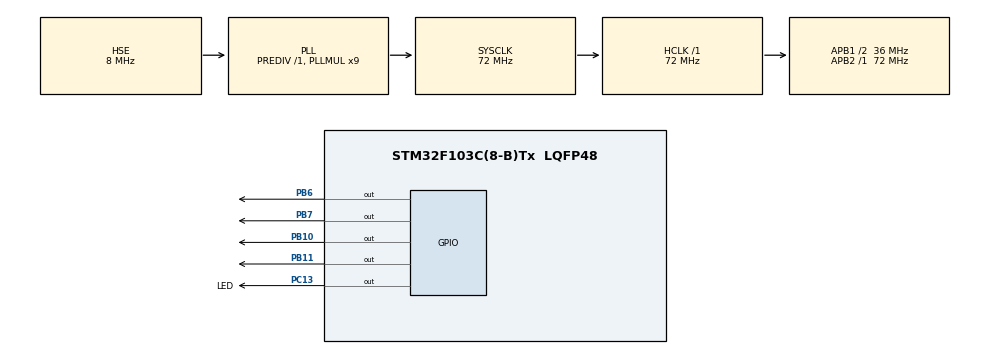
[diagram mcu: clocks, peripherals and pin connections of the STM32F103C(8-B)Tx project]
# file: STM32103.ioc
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Mcu.Family=STM32F1
Mcu.Name=STM32F103C(8-B)Tx
Mcu.Package=LQFP48
NVIC.PriorityGroup=NVIC_PRIORITYGROUP_4
PA13.Mode=JTAG_4_pins
PA13.Signal=SYS_JTMS-SWDIO
PA14.Mode=JTAG_4_pins
PA14.Signal=SYS_JTCK-SWCLK
PA15.Mode=JTAG_4_pins
PA15.Signal=SYS_JTDI
PB10.PinState=GPIO_PIN_SET
PB10.Signal=GPIO_Output
PB11.PinState=GPIO_PIN_SET
PB11.Signal=GPIO_Output
PB3.Mode=JTAG_4_pins
PB3.Signal=SYS_JTDO-TRACESWO
PB6.GPIO_Speed=GPIO_SPEED_FREQ_HIGH
PB6.PinState=GPIO_PIN_SET
PB6.Signal=GPIO_Output
PB7.GPIO_Speed=GPIO_SPEED_FREQ_HIGH
PB7.PinState=GPIO_PIN_SET
PB7.Signal=GPIO_Output
PC13-TAMPER-RTC.GPIO_Label=LED
PC13-TAMPER-RTC.GPIO_PuPd=GPIO_NOPULL
PC13-TAMPER-RTC.Signal=GPIO_Output
PC14-OSC32_IN.Mode=LSE-External-Oscillator
PC14-OSC32_IN.Signal=RCC_OSC32_IN
PC15-OSC32_OUT.Mode=LSE-External-Oscillator
PC15-OSC32_OUT.Signal=RCC_OSC32_OUT
PD0-OSC_IN.Mode=HSE-External-Oscillator
PD0-OSC_IN.Signal=RCC_OSC_IN
PD1-OSC_OUT.Mode=HSE-External-Oscillator
PD1-OSC_OUT.Signal=RCC_OSC_OUT
ProjectManager.HeapSize=0x200
ProjectManager.StackSize=0x400
ProjectManager.TargetToolchain=MDK-ARM V5
RCC.AHBFreq_Value=72000000
RCC.APB1CLKDivider=RCC_HCLK_DIV2
RCC.APB1Freq_Value=36000000
RCC.APB1TimFreq_Value=72000000
RCC.APB2Freq_Value=72000000
RCC.APB2TimFreq_Value=72000000
RCC.HCLKFreq_Value=72000000
RCC.PLLMUL=RCC_PLL_MUL9
RCC.PLLSourceVirtual=RCC_PLLSOURCE_HSE
RCC.SYSCLKFreq_VALUE=72000000
RCC.SYSCLKSource=RCC_SYSCLKSOURCE_PLLCLK
RCC.USBFreq_Value=72000000
board=custom

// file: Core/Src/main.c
/* USER CODE BEGIN Header */
/**
  ******************************************************************************
  * @file           : main.c
  * @brief          : Main program body
  ******************************************************************************
  * @attention
  *
  * <h2><center>&copy; Copyright (c) 2022 STMicroelectronics.
  * All rights reserved.</center></h2>
  *
  * This software component is licensed by ST under BSD 3-Clause license,
  * the "License"; You may not use this file except in compliance with the
  * License. You may obtain a copy of the License at:
  *                        opensource.org/licenses/BSD-3-Clause
  *
  ******************************************************************************
  */
/* USER CODE END Header */

#include "main.h"
#include "gpio.h"
#include "math.h"

/* USER CODE BEGIN Includes */
#include "OLED.h"
/* USER CODE END Includes */

/* USER CODE BEGIN PD */

/*64*64image*/
char images[][512] = {

	/*--  调入了一幅图像：C:\Users\chen\Pictures\STM32 OLED示例图片\CLock.bmp  --*/
/*--  宽度x高度=64x64  --*/
0x00,0x00,0x00,0x00,0x00,0x00,0x00,0x00,0x00,0x00,0x00,0x00,0x00,0x00,0x00,0x00,
0x00,0x00,0x00,0x00,0x00,0x00,0x80,0x80,0x80,0xC0,0xC0,0xC0,0xC0,0xC0,0xC0,0xC0,
0xC0,0xC0,0xC0,0xC0,0xC0,0xC0,0xC0,0x80,0x80,0x80,0x00,0x00,0x00,0x00,0x00,0x00,
0x00,0x00,0x00,0x00,0x00,0x00,0x00,0x00,0x00,0x00,0x00,0x00,0x00,0x00,0x00,0x00,
0x00,0x00,0x00,0x00,0x00,0x00,0x00,0x00,0x00,0x00,0x00,0xC0,0xE0,0xE0,0xF0,0xF8,
0xFC,0x7C,0x3E,0x3E,0x1F,0x1F,0x0F,0x0F,0x07,0x07,0x07,0x07,0x03,0x03,0xF3,0xFB,
0xFB,0xF3,0x03,0x03,0x07,0x07,0x07,0x07,0x0F,0x0F,0x1F,0x1F,0x3E,0x3E,0x7C,0xFC,
0xF8,0xF0,0xE0,0xE0,0xC0,0x00,0x00,0x00,0x00,0x00,0x00,0x00,0x00,0x00,0x00,0x00,
0x00,0x00,0x00,0x00,0x00,0x00,0xC0,0xF0,0xFC,0xFE,0xFF,0x3F,0x0F,0x07,0x03,0x01,
0x00,0x00,0x00,0x00,0x00,0x00,0x00,0x00,0x00,0x00,0x00,0x00,0x00,0x00,0xFF,0xFF,
0xFF,0xFF,0x00,0x00,0x00,0x00,0x00,0x00,0x00,0x00,0x00,0x00,0x00,0x00,0x00,0x00,
0x01,0x03,0x07,0x0F,0x3F,0xFF,0xFE,0xFC,0xF0,0xC0,0x00,0x00,0x00,0x00,0x00,0x00,
0x00,0x00,0x00,0x00,0xF8,0xFF,0xFF,0xFF,0x3F,0x03,0x00,0x00,0x00,0x00,0x00,0x00,
0x00,0x00,0x00,0x00,0x00,0x00,0x00,0x00,0x00,0x00,0x00,0x00,0x00,0x00,0xFF,0xFF,
0xFF,0xFF,0x00,0x00,0x00,0x00,0x00,0x00,0x00,0x00,0x00,0x00,0x00,0x00,0x00,0x00,
0x00,0x00,0x00,0x00,0x00,0x00,0x03,0x3F,0xFF,0xFF,0xFF,0xF8,0x00,0x00,0x00,0x00,
0x00,0x00,0x00,0x00,0xFF,0xFF,0xFF,0xFF,0xC0,0x00,0x00,0x00,0x00,0x00,0x00,0x00,
0x00,0x00,0x00,0x00,0x00,0x00,0x00,0x00,0x80,0xC0,0xE0,0xF0,0xF8,0xFC,0x7F,0x3F,
0x1F,0x0F,0x00,0x00,0x00,0x00,0x00,0x00,0x00,0x00,0x00,0x00,0x00,0x00,0x00,0x00,
0x00,0x00,0x00,0x00,0x00,0x00,0x00,0xC0,0xFF,0xFF,0xFF,0xFF,0x00,0x00,0x00,0x00,
0x00,0x00,0x00,0x00,0x01,0x0F,0x3F,0xFF,0xFF,0xFC,0xF0,0xC0,0x00,0x00,0x00,0x00,
0x00,0x00,0x00,0x00,0x30,0x7C,0x7E,0x3F,0x1F,0x0F,0x07,0x03,0x01,0x00,0x00,0x00,
0x00,0x00,0x00,0x00,0x00,0x00,0x00,0x00,0x00,0x00,0x00,0x00,0x00,0x00,0x00,0x00,
0x00,0x00,0x00,0x00,0xC0,0xF0,0xFC,0xFF,0xFF,0x3F,0x0F,0x01,0x00,0x00,0x00,0x00,
0x00,0x00,0x00,0x00,0x00,0x00,0x00,0x00,0x03,0x07,0x0F,0x3F,0x7F,0x7E,0xFC,0xF8,
0xF0,0xE0,0xC0,0xC0,0x80,0x80,0x00,0x00,0x00,0x00,0x00,0x00,0x00,0x00,0x00,0x00,
0x00,0x00,0x00,0x00,0x00,0x00,0x00,0x00,0x00,0x00,0x80,0x80,0xC0,0xC0,0xE0,0xF0,
0xF8,0xFC,0x7E,0x7F,0x3F,0x0F,0x07,0x03,0x00,0x00,0x00,0x00,0x00,0x00,0x00,0x00,
0x00,0x00,0x00,0x00,0x00,0x00,0x00,0x00,0x00,0x00,0x00,0x00,0x00,0x00,0x00,0x01,
0x03,0x03,0x07,0x07,0x0F,0x0F,0x1F,0x1F,0x1E,0x3E,0x3E,0x3E,0x3C,0x3C,0x3C,0x3C,
0x3C,0x3C,0x3C,0x3C,0x3E,0x3E,0x3E,0x1E,0x1F,0x1F,0x0F,0x0F,0x07,0x07,0x03,0x03,
0x01,0x00,0x00,0x00,0x00,0x00,0x00,0x00,0x00,0x00,0x00,0x00,0x00,0x00,0x00,0x00,

/*--  调入了一幅图像：C:\Users\chen\Pictures\STM32 OLED示例图片\WIFI.bmp  --*/
/*--  宽度x高度=64x64  --*/
0x00,0x00,0x00,0x00,0x00,0x00,0x00,0x00,0x00,0x00,0x00,0x00,0x00,0x00,0x00,0x00,
0x00,0x00,0x00,0x00,0x00,0x00,0x00,0x00,0x00,0x00,0x00,0x00,0x00,0x00,0x00,0x00,
0x00,0x00,0x00,0x00,0x00,0x00,0x00,0x00,0x00,0x00,0x00,0x00,0x00,0x00,0x00,0x00,
0x00,0x00,0x00,0x00,0x00,0x00,0x00,0x00,0x00,0x00,0x00,0x00,0x00,0x00,0x00,0x00,
0x00,0x00,0x00,0x00,0x00,0x00,0x00,0x80,0x80,0xC0,0xC0,0xE0,0xE0,0xF0,0xF0,0xF8,
0xF8,0xF8,0xFC,0xFC,0xFC,0xFE,0xFE,0xFE,0xFE,0x7E,0x7E,0x7E,0x7F,0x7F,0x7F,0x7F,
0x7F,0x7F,0x7F,0x7E,0x7E,0x7E,0xFE,0xFE,0xFE,0xFE,0xFC,0xFC,0xFC,0xF8,0xF8,0xF8,
0xF0,0xF0,0xE0,0xE0,0xC0,0xC0,0x80,0x80,0x00,0x00,0x00,0x00,0x00,0x00,0x00,0x00,
0xE0,0xF0,0xF8,0xFC,0xFC,0xFE,0xFF,0xFF,0x7F,0x3F,0x1F,0x1F,0x0F,0x0F,0x07,0x03,
0x03,0x03,0x81,0x81,0xC1,0xC0,0xC0,0xE0,0xE0,0xE0,0xE0,0xE0,0xF0,0xF0,0xF0,0xF0,
0xF0,0xF0,0xF0,0xE0,0xE0,0xE0,0xE0,0xE0,0xC0,0xC0,0xC1,0x81,0x81,0x03,0x03,0x07,
0x07,0x0F,0x0F,0x1F,0x1F,0x3F,0x7F,0xFF,0xFF,0xFE,0xFC,0xF8,0xF8,0xF0,0xE0,0x00,
0x01,0x03,0x03,0x03,0x03,0x01,0x01,0x00,0x00,0xE0,0xF0,0xF0,0xF8,0xFC,0xFE,0xFE,
0xFF,0x7F,0x7F,0x3F,0x1F,0x1F,0x1F,0x0F,0x0F,0x0F,0x07,0x07,0x07,0x07,0x07,0x07,
0x07,0x07,0x07,0x07,0x07,0x0F,0x0F,0x0F,0x1F,0x1F,0x1F,0x3F,0x7F,0x7F,0xFF,0xFE,
0xFE,0xFC,0xF8,0xF0,0xF0,0xE0,0x00,0x00,0x01,0x01,0x03,0x03,0x03,0x03,0x01,0x00,
0x00,0x00,0x00,0x00,0x00,0x00,0x00,0x00,0x00,0x03,0x07,0x07,0x07,0x03,0x03,0x01,
0x00,0x80,0xC0,0xE0,0xF0,0xF8,0xF8,0xFC,0xFC,0xFE,0xFE,0xFE,0x7E,0x7E,0x7E,0x7F,
0x7E,0x7E,0x7E,0xFE,0xFE,0xFE,0xFC,0xFC,0xF8,0xF8,0xF0,0xE0,0xC0,0x80,0x00,0x01,
0x03,0x03,0x07,0x07,0x07,0x03,0x00,0x00,0x00,0x00,0x00,0x00,0x00,0x00,0x00,0x00,
0x00,0x00,0x00,0x00,0x00,0x00,0x00,0x00,0x00,0x00,0x00,0x00,0x00,0x00,0x00,0x00,
0x00,0x01,0x07,0x07,0x07,0x07,0x07,0x03,0x01,0x01,0x80,0xC0,0xE0,0xF0,0xF0,0xF0,
0xF0,0xF0,0xE0,0xC0,0x80,0x01,0x01,0x03,0x07,0x07,0x07,0x07,0x07,0x01,0x00,0x00,
0x00,0x00,0x00,0x00,0x00,0x00,0x00,0x00,0x00,0x00,0x00,0x00,0x00,0x00,0x00,0x00,
0x00,0x00,0x00,0x00,0x00,0x00,0x00,0x00,0x00,0x00,0x00,0x00,0x00,0x00,0x00,0x00,
0x00,0x00,0x00,0x00,0x00,0x00,0x00,0x00,0x00,0x00,0x0F,0x1F,0x3F,0x7F,0x7F,0x7F,
0x7F,0x7F,0x3F,0x1F,0x0F,0x00,0x00,0x00,0x00,0x00,0x00,0x00,0x00,0x00,0x00,0x00,
0x00,0x00,0x00,0x00,0x00,0x00,0x00,0x00,0x00,0x00,0x00,0x00,0x00,0x00,0x00,0x00,
0x00,0x00,0x00,0x00,0x00,0x00,0x00,0x00,0x00,0x00,0x00,0x00,0x00,0x00,0x00,0x00,
0x00,0x00,0x00,0x00,0x00,0x00,0x00,0x00,0x00,0x00,0x00,0x00,0x00,0x00,0x00,0x00,
0x00,0x00,0x00,0x00,0x00,0x00,0x00,0x00,0x00,0x00,0x00,0x00,0x00,0x00,0x00,0x00,
0x00,0x00,0x00,0x00,0x00,0x00,0x00,0x00,0x00,0x00,0x00,0x00,0x00,0x00,0x00,0x00,

/*--  调入了一幅图像：C:\Users\chen\Pictures\STM32 OLED示例图片\BT.bmp  --*/
/*--  宽度x高度=64x64  --*/
0x00,0x00,0x00,0x00,0x00,0x00,0x00,0x00,0x00,0x00,0x00,0x00,0x00,0x00,0x00,0x00,
0x00,0x00,0x00,0x80,0x80,0xC0,0xE0,0xE0,0xF0,0xF0,0xF0,0xF8,0xF8,0xF8,0xF8,0xF8,
0xF8,0xF8,0xF8,0xF8,0xF8,0xF0,0xF0,0xF0,0xE0,0xE0,0xC0,0x80,0x80,0x00,0x00,0x00,
0x00,0x00,0x00,0x00,0x00,0x00,0x00,0x00,0x00,0x00,0x00,0x00,0x00,0x00,0x00,0x00,
0x00,0x00,0x00,0x00,0x00,0x00,0x00,0x00,0x00,0x00,0x00,0x00,0x00,0x00,0xC0,0xF0,
0xF8,0xFE,0xFF,0xFF,0xFF,0xFF,0xFF,0xFF,0xFF,0xFF,0xFF,0xFF,0xFF,0x3F,0x1F,0x1F,
0x3F,0x7F,0xFF,0xFF,0xFF,0xFF,0xFF,0xFF,0xFF,0xFF,0xFF,0xFF,0xFF,0xFF,0xFE,0xFC,
0xF0,0xC0,0x00,0x00,0x00,0x00,0x00,0x00,0x00,0x00,0x00,0x00,0x00,0x00,0x00,0x00,
0x00,0x00,0x00,0x00,0x00,0x00,0x00,0x00,0x00,0x00,0x00,0x00,0x00,0xFE,0xFF,0xFF,
0xFF,0xFF,0xFF,0xFF,0xFF,0x7F,0x7F,0x7F,0xFF,0xFF,0xFF,0xFF,0xFF,0x00,0x00,0x00,
0xFC,0xFC,0xF8,0xF1,0xE3,0xE3,0xC7,0x0F,0x1F,0x1F,0x3F,0xFF,0xFF,0xFF,0xFF,0xFF,
0xFF,0xFF,0xFF,0x00,0x00,0x00,0x00,0x00,0x00,0x00,0x00,0x00,0x00,0x00,0x00,0x00,
0x00,0x00,0x00,0x00,0x00,0x00,0x00,0x00,0x00,0x00,0x00,0x00,0x00,0xFF,0xFF,0xFF,
0xFF,0xFF,0xFF,0xFF,0xFF,0xFE,0xFC,0xF8,0xF0,0xF1,0xE3,0xC7,0x87,0x00,0x00,0x00,
0x1F,0x0F,0x8F,0xC7,0xE3,0xF1,0xF0,0xF8,0xFC,0xFE,0xFF,0xFF,0xFF,0xFF,0xFF,0xFF,
0xFF,0xFF,0xFF,0x00,0x00,0x00,0x00,0x00,0x00,0x00,0x00,0x00,0x00,0x00,0x00,0x00,
0x00,0x00,0x00,0x00,0x00,0x00,0x00,0x00,0x00,0x00,0x00,0x00,0x00,0xFF,0xFF,0xFF,
0xFF,0xFF,0xFF,0xFF,0xFF,0x3F,0x1F,0x0F,0x8F,0xC7,0xE3,0xF1,0xF1,0x00,0x00,0x00,
0xFC,0xF8,0xF1,0xE1,0xE3,0xC7,0x8F,0x0F,0x1F,0x3F,0x7F,0xFF,0xFF,0xFF,0xFF,0xFF,
0xFF,0xFF,0xFF,0x00,0x00,0x00,0x00,0x00,0x00,0x00,0x00,0x00,0x00,0x00,0x00,0x00,
0x00,0x00,0x00,0x00,0x00,0x00,0x00,0x00,0x00,0x00,0x00,0x00,0x00,0x7F,0xFF,0xFF,
0xFF,0xFF,0xFF,0xFF,0xFF,0xFF,0xFF,0xFF,0xFF,0xFF,0xFF,0xFF,0xFF,0x00,0x00,0x00,
0x1F,0x1F,0x8F,0xC7,0xC7,0xE3,0xF1,0xF8,0xF8,0xFC,0xFE,0xFF,0xFF,0xFF,0xFF,0xFF,
0xFF,0xFF,0x7F,0x00,0x00,0x00,0x00,0x00,0x00,0x00,0x00,0x00,0x00,0x00,0x00,0x00,
0x00,0x00,0x00,0x00,0x00,0x00,0x00,0x00,0x00,0x00,0x00,0x00,0x00,0x00,0x01,0x07,
0x1F,0x3F,0x7F,0xFF,0xFF,0xFF,0xFF,0xFF,0xFF,0xFF,0xFF,0xFF,0xFF,0xFC,0xFC,0xFC,
0xFE,0xFF,0xFF,0xFF,0xFF,0xFF,0xFF,0xFF,0xFF,0xFF,0xFF,0xFF,0xFF,0x7F,0x3F,0x1F,
0x07,0x03,0x00,0x00,0x00,0x00,0x00,0x00,0x00,0x00,0x00,0x00,0x00,0x00,0x00,0x00,
0x00,0x00,0x00,0x00,0x00,0x00,0x00,0x00,0x00,0x00,0x00,0x00,0x00,0x00,0x00,0x00,
0x00,0x00,0x00,0x00,0x00,0x01,0x03,0x03,0x07,0x07,0x0F,0x0F,0x0F,0x0F,0x0F,0x0F,
0x0F,0x0F,0x0F,0x0F,0x0F,0x0F,0x07,0x07,0x03,0x03,0x01,0x00,0x00,0x00,0x00,0x00,
0x00,0x00,0x00,0x00,0x00,0x00,0x00,0x00,0x00,0x00,0x00,0x00,0x00,0x00,0x00,0x00,

/*--  调入了一幅图像：C:\Users\chen\Pictures\STM32 OLED示例图片\chen.bmp  --*/
/*--  宽度x高度=64x64  --*/
0x00,0x00,0x00,0x00,0x00,0x00,0x00,0x00,0x00,0x00,0x00,0x00,0x00,0x00,0x00,0x00,
0x00,0x00,0x00,0x00,0x00,0x00,0x00,0x00,0x00,0x00,0x00,0x00,0x00,0x00,0x00,0x00,
0x00,0x00,0x00,0x00,0x00,0x00,0x00,0x00,0x00,0x00,0x00,0x00,0x00,0x00,0x00,0x00,
0x00,0x00,0x00,0x00,0x00,0x00,0x00,0x00,0x00,0x00,0x00,0x00,0x00,0x00,0x00,0x00,
0x00,0x00,0x00,0x00,0x00,0x00,0x00,0x00,0x00,0x00,0x00,0x00,0x00,0x00,0x00,0x00,
0x00,0x00,0x00,0x00,0x00,0x00,0x00,0x00,0x00,0x00,0x00,0x00,0x00,0x00,0x00,0x00,
0x00,0x00,0x00,0x00,0x00,0x00,0x00,0x00,0x00,0x00,0x00,0x00,0x00,0x00,0x00,0x00,
0x00,0x00,0x00,0x00,0x00,0x00,0x00,0x00,0x00,0x00,0x00,0x00,0x00,0x00,0x00,0x00,
0x00,0x00,0x00,0x00,0x00,0x00,0x00,0x00,0x00,0x00,0x00,0x00,0x00,0x00,0x00,0x00,
0xFE,0xFE,0xFE,0xFE,0x00,0x00,0x00,0x00,0x00,0x00,0x00,0x00,0x00,0x00,0x00,0x00,
0x00,0x00,0x00,0x00,0x00,0x00,0x00,0x00,0x00,0x00,0x00,0x00,0x00,0x00,0x00,0x00,
0x00,0x00,0x00,0x00,0x00,0x00,0x00,0x00,0x00,0x00,0x00,0x00,0x00,0x00,0x00,0x00,
0x00,0x00,0xF0,0xF8,0xFC,0xFE,0x1F,0x0F,0x07,0x07,0x07,0x07,0x07,0x00,0x00,0x00,
0xFF,0xFF,0xFF,0xFF,0x1E,0x06,0x07,0x07,0x07,0x1F,0xFF,0xFE,0xFC,0xE0,0x00,0x00,
0xF0,0xFC,0xFE,0xFE,0xCF,0xC7,0xC7,0xC7,0xC7,0xDF,0xFE,0xFC,0xF8,0x00,0x00,0x00,
0xFF,0xFF,0xFF,0xFE,0x0E,0x07,0x07,0x07,0x0F,0xFF,0xFF,0xFE,0xF8,0x00,0x00,0x00,
0x00,0x00,0x0F,0x3F,0x7F,0x7F,0xF8,0xF0,0xE0,0xE0,0xE0,0xE0,0xE0,0x00,0x00,0x00,
0xFF,0xFF,0xFF,0xFF,0x00,0x00,0x00,0x00,0x00,0x00,0xFF,0xFF,0xFF,0xFF,0x00,0x00,
0x0F,0x3F,0x7F,0x7D,0xF1,0xE1,0xE1,0xE1,0xE1,0xE1,0xE1,0xE1,0x01,0x00,0x00,0x00,
0xFF,0xFF,0xFF,0xFF,0x00,0x00,0x00,0x00,0x00,0xFF,0xFF,0xFF,0xFF,0x00,0x00,0x00,
0x00,0x00,0x00,0x00,0x00,0x00,0x00,0x00,0x00,0x00,0x00,0x00,0x00,0x00,0x00,0x00,
0x00,0x00,0x00,0x00,0x00,0x00,0x00,0x00,0x00,0x00,0x00,0x00,0x00,0x00,0x00,0x00,
0x00,0x00,0x00,0x00,0x00,0x00,0x00,0x00,0x00,0x00,0x00,0x00,0x00,0x00,0x00,0x00,
0x00,0x00,0x00,0x00,0x00,0x00,0x00,0x00,0x00,0x00,0x00,0x00,0x00,0x00,0x00,0x00,
0x00,0x00,0x00,0x00,0x00,0x00,0x00,0x00,0x00,0x00,0x00,0x00,0x00,0x00,0x00,0x00,
0x00,0x00,0x00,0x00,0x00,0x00,0x00,0x00,0x00,0x00,0x00,0x00,0x00,0x00,0x00,0x00,
0x00,0x00,0x00,0x00,0x00,0x00,0x00,0x00,0x00,0x00,0x00,0x00,0x00,0x00,0x00,0x00,
0x00,0x00,0x00,0x00,0x00,0x00,0x00,0x00,0x00,0x00,0x00,0x00,0x00,0x00,0x00,0x00,
0x00,0x00,0x00,0x00,0x00,0x00,0x00,0x00,0x00,0x00,0x00,0x00,0x00,0x00,0x00,0x00,
0x00,0x00,0x00,0x00,0x00,0x00,0x00,0x00,0x00,0x00,0x00,0x00,0x00,0x00,0x00,0x00,
0x00,0x00,0x00,0x00,0x00,0x00,0x00,0x00,0x00,0x00,0x00,0x00,0x00,0x00,0x00,0x00,
0x00,0x00,0x00,0x00,0x00,0x00,0x00,0x00,0x00,0x00,0x00,0x00,0x00,0x00,0x00,0x00,

};

/* USER CODE END PD */

void SystemClock_Config(void);

int main(void)
{

  /* MCU Configuration--------------------------------------------------------*/

  /* Reset of all peripherals, Initializes the Flash interface and the Systick. */
  HAL_Init();

  /* Configure the system clock */
  SystemClock_Config();

  /* Initialize all configured peripherals */
  MX_GPIO_Init();
  /* USER CODE BEGIN 2 */

	OLED_Init();

OLED_Clear();

 HAL_GPIO_WritePin(GPIOC,GPIO_PIN_13,GPIO_PIN_SET);

unsigned char S = 0;
  /* USER CODE END 2 */

  /* Infinite loop */
  while (1)
  {

    /* USER CODE BEGIN 3 */

		unsigned char i;

		for(i = 0;i < 128;i++){

			OLED_DrawBMP(128-i,0,i+64,8,(unsigned char *)images[S]);
			OLED_DrawBMP(128-i-128,0,i+64,8,(unsigned char *)images[S+i]);

		}
		if(i == 128)S++;
		if(S == 4)S = 0;

		//OLED_ShowString(0,0,(unsigned char *)"hello",16);

  }
  /* USER CODE END 3 */
}

void SystemClock_Config(void)
{
  RCC_OscInitTypeDef RCC_OscInitStruct = {0};
  RCC_ClkInitTypeDef RCC_ClkInitStruct = {0};

  /** Initializes the CPU, AHB and APB busses clocks
  */
  RCC_OscInitStruct.OscillatorType = RCC_OSCILLATORTYPE_HSE;
  RCC_OscInitStruct.HSEState = RCC_HSE_ON;
  RCC_OscInitStruct.HSEPredivValue = RCC_HSE_PREDIV_DIV1;
  RCC_OscInitStruct.HSIState = RCC_HSI_ON;
  RCC_OscInitStruct.PLL.PLLState = RCC_PLL_ON;
  RCC_OscInitStruct.PLL.PLLSource = RCC_PLLSOURCE_HSE;
  RCC_OscInitStruct.PLL.PLLMUL = RCC_PLL_MUL9;
  if (HAL_RCC_OscConfig(&RCC_OscInitStruct) != HAL_OK)
  {
    Error_Handler();
  }
  /** Initializes the CPU, AHB and APB busses clocks
  */
  RCC_ClkInitStruct.ClockType = RCC_CLOCKTYPE_HCLK|RCC_CLOCKTYPE_SYSCLK
                              |RCC_CLOCKTYPE_PCLK1|RCC_CLOCKTYPE_PCLK2;
  RCC_ClkInitStruct.SYSCLKSource = RCC_SYSCLKSOURCE_PLLCLK;
  RCC_ClkInitStruct.AHBCLKDivider = RCC_SYSCLK_DIV1;
  RCC_ClkInitStruct.APB1CLKDivider = RCC_HCLK_DIV2;
  RCC_ClkInitStruct.APB2CLKDivider = RCC_HCLK_DIV1;

  if (HAL_RCC_ClockConfig(&RCC_ClkInitStruct, FLASH_LATENCY_2) != HAL_OK)
  {
    Error_Handler();
  }
}

void Error_Handler(void)
{
}

/************************ (C) COPYRIGHT STMicroelectronics *****END OF FILE****/
